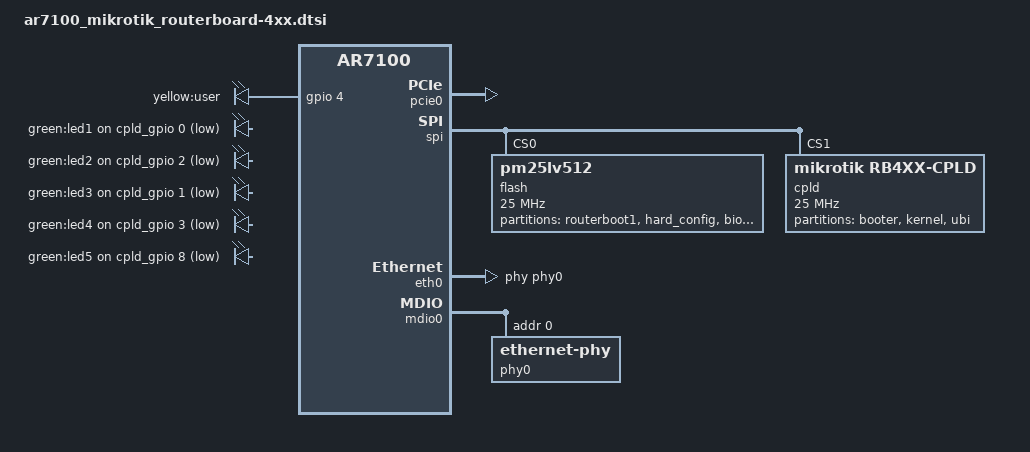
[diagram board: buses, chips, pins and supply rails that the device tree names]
// SPDX-License-Identifier: GPL-1.0-or-later OR MIT

#include "ar7100.dtsi"

#include <dt-bindings/gpio/gpio.h>
#include <dt-bindings/input/input.h>

/ {
	aliases {
		led-boot = &led_user;
		led-failsafe = &led_user;
		led-running = &led_user;
	};

	leds {
		compatible = "gpio-leds";

		led_user: user {
			label = "yellow:user";
			gpios = <&gpio 4 GPIO_ACTIVE_HIGH>;
			default-state = "on";
		};

		led1 {
			label = "green:led1";
			gpios = <&cpld_gpio 0 GPIO_ACTIVE_LOW>;
		};

		led2 {
			label = "green:led2";
			gpios = <&cpld_gpio 2 GPIO_ACTIVE_LOW>;
		};

		led3 {
			label = "green:led3";
			gpios = <&cpld_gpio 1 GPIO_ACTIVE_LOW>;
		};

		led4 {
			label = "green:led4";
			gpios = <&cpld_gpio 3 GPIO_ACTIVE_LOW>;
		};

		led5 {
			label = "green:led5";
			gpios = <&cpld_gpio 8 GPIO_ACTIVE_LOW>;
		};
	};
};

&gpio {
	ngpios = <31>;
	gpio-line-names =
		"",     "", "", "", "LED", "RDY",  "",  "MDC",
		"MDIO", "", "", "", "",    "",     "",  "",
		"",     "", "", "", "",    "",     "",  "",
		"",     "", "", "", "",    "",     "",  "";
};

&pcie0 {
	status = "okay";
};

&spi {
	status = "okay";

	compatible = "mikrotik,rb4xx-spi";

	flash@0 {
		compatible = "pm25lv512", "jedec,spi-nor";

		reg = <0>;
		spi-max-frequency = <25000000>;

		partitions {
			compatible = "mikrotik,routerboot-partitions";
			#address-cells = <1>;
			#size-cells = <1>;

			partition@0 {
				label = "routerboot1";
				reg = <0x0 0x0>;
				read-only;
			};

			hard_config {
				label = "hard_config";
				read-only;
			};

			bios {
				label = "bios";
				size = <0x1000>;
				read-only;
			};

			routerboot2 {
				label = "routerboot2";
				read-only;
			};

			soft_config {
				label = "soft_config";
			};
		};
	};

	cpld@1 {
		compatible = "mikrotik,rb4xx-cpld";

		reg = <1>;
		spi-max-frequency = <25000000>;

		cpld_gpio: gpio {
			compatible = "mikrotik,rb4xx-gpio";

			base = <32>;

			gpio-controller;
			#gpio-cells = <2>;
			gpio-line-names =
				"LED1", "LED2", "LED3", "LED4",
				"FAN",  "ALE",  "CLE",  "nCE",
				"LED5";
		};

		nand {
			compatible = "mikrotik,rb4xx-nand";

			gpios = <&cpld_gpio 5 GPIO_ACTIVE_HIGH>, // ALE
				<&cpld_gpio 6 GPIO_ACTIVE_HIGH>, // CLE
				<&cpld_gpio 7 GPIO_ACTIVE_HIGH>, // nCE
				<&gpio      5 GPIO_ACTIVE_HIGH>; // RDY

			partitions {
				compatible = "fixed-partitions";
				#address-cells = <1>;
				#size-cells = <1>;

				partition@0 {
					label = "booter";
					reg = <0x0000000 0x0040000>;
					read-only;
				};

				partition@40000 {
					label = "kernel";
					reg = <0x0040000 0x0800000>;
				};

				partition@840000 {
					label = "ubi";
					reg = <0x0840000 0x77c0000>;
				};
			};
		};
	};
};

&eth0 {
	status = "okay";

	phy-handle = <&phy0>;
};

&mdio0 {
	status = "okay";

	phy0: ethernet-phy@0 {
		reg = <0>;
	};
};
